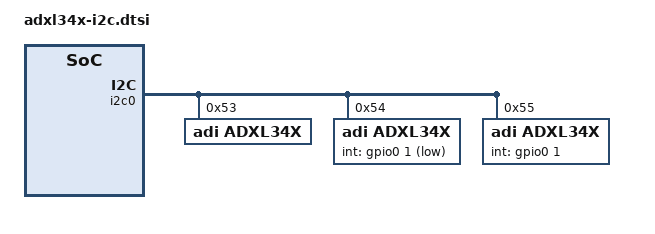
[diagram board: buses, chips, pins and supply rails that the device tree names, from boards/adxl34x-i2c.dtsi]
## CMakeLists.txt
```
#
# Copyright (c) 2024, Chaim Zax
# SPDX-License-Identifier: Apache-2.0
#

cmake_minimum_required(VERSION 3.20.0)

find_package(Zephyr REQUIRED HINTS $ENV{ZEPHYR_BASE})
project(sensor_adxl34x_test)

target_include_directories(app PRIVATE
  "${CMAKE_CURRENT_SOURCE_DIR}/../../../../drivers/sensor/adi/adxl34x"
)
target_sources(app PRIVATE
  src/adxl34x_test.c
  src/adxl34x_test.h
  src/adxl34x_basic.c
  src/adxl34x_decoder.c
  src/adxl34x_streaming.c
  src/adxl34x_extended.c
  src/adxl34x_i2c.c
  src/adxl34x_spi.c
)
# Let's speedup development. DISABLE IN PRODUCTION!
#target_compile_options(app PRIVATE -Wno-error=unused-variable -Wno-error=unused-function)
```

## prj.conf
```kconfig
#
# Copyright (c) 2024 Chaim Zax
# SPDX-License-Identifier: Apache-2.0
#

CONFIG_ZTEST=y
CONFIG_SENSOR_ASYNC_API=y

# Enable GPIO
CONFIG_GPIO=y

# Enable sensors
CONFIG_SENSOR=y

# Enable emulation
CONFIG_EMUL=y
```

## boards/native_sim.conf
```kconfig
#
# Copyright (c) 2024 Chaim Zax
# SPDX-License-Identifier: Apache-2.0
#

CONFIG_I2C=y
CONFIG_SPI=y
```

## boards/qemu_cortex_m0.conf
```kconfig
#
# Copyright (c) 2024 Chaim Zax
# SPDX-License-Identifier: Apache-2.0
#

CONFIG_I2C=y
CONFIG_SPI=y

CONFIG_QEMU_ICOUNT=y
```

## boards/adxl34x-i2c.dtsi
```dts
/*
 * Copyright (c) 2024 Chaim Zax
 * SPDX-License-Identifier: Apache-2.0
 */

&i2c0 {
	adxl34x@53 {
		compatible = "adi,adxl34x";
		reg = <0x53>;
		status = "okay";
	};

	adxl34x@54 {
		compatible = "adi,adxl34x";
		reg = <0x54>;
		int-gpios = <&gpio0 1 GPIO_ACTIVE_LOW>;
		int-pin = <1>;
		packet-size = <16>;
		accel-frequency = "50";
		accel-range = <2>;
		status = "okay";
	};

	adxl34x@55 {
		compatible = "adi,adxl34x";
		reg = <0x55>;
		int-gpios = <&gpio0 1 GPIO_ACTIVE_HIGH>;
		int-pin = <2>;
		packet-size = <31>;
		accel-frequency = "3200";
		accel-range = <16>;
		status = "okay";
	};
};
```

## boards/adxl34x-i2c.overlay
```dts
/*
 * Copyright (c) 2024 Chaim Zax
 * SPDX-License-Identifier: Apache-2.0
 */

#include "adxl34x-i2c.dtsi"
```

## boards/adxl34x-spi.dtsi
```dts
/*
 * Copyright (c) 2024 Chaim Zax
 * SPDX-License-Identifier: Apache-2.0
 */

&spi0 {
	adxl34x@0 {
		compatible = "adi,adxl34x";
		reg = <0>;
		spi-max-frequency = <5000000>;
		status = "okay";
	};

	adxl34x@1 {
		compatible = "adi,adxl34x";
		reg = <1>;
		spi-max-frequency = <5000000>;
		int-gpios = <&gpio0 1 GPIO_ACTIVE_LOW>;
		int-pin = <1>;
		packet-size = <16>;
		accel-frequency = "100";
		accel-range = <2>;
		status = "okay";
	};

	adxl34x@2 {
		compatible = "adi,adxl34x";
		reg = <2>;
		spi-max-frequency = <5000000>;
		int-gpios = <&gpio0 1 GPIO_ACTIVE_HIGH>;
		int-pin = <2>;
		packet-size = <31>;
		accel-frequency = "3200";
		accel-range = <16>;
		status = "okay";
	};
};
```

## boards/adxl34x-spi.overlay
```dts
/*
 * Copyright (c) 2024 Chaim Zax
 * SPDX-License-Identifier: Apache-2.0
 */

#include "adxl34x-spi.dtsi"
```

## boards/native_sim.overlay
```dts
/*
 * Copyright (c) 2024 Chaim Zax
 * SPDX-License-Identifier: Apache-2.0
 */

#include "adxl34x-spi.dtsi"
#include "adxl34x-i2c.dtsi"
```

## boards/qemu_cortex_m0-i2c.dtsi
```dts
/*
 * Copyright (c) 2024 Chaim Zax
 * SPDX-License-Identifier: Apache-2.0
 */

#include "adxl34x-i2c.dtsi"

&pinctrl {
	i2c0_default: i2c0_default {
		group1 {
			psels = <NRF_PSEL(TWIM_SDA, 0, 30)>,
				<NRF_PSEL(TWIM_SCL, 0, 7)>;
		};
	};

	i2c0_sleep: i2c0_sleep {
		group1 {
			psels = <NRF_PSEL(TWIM_SDA, 0, 30)>,
				<NRF_PSEL(TWIM_SCL, 0, 7)>;
			low-power-enable;
		};
	};
};

&i2c0 {
	status = "okay";
	pinctrl-0 = <&i2c0_default>;
	pinctrl-1 = <&i2c0_sleep>;
	pinctrl-names = "default", "sleep";
};
```

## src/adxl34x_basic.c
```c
/*
 * Copyright (c) 2024 Chaim Zax
 *
 * SPDX-License-Identifier: Apache-2.0
 */

#include <math.h>

#include <zephyr/drivers/emul.h>
#include <zephyr/drivers/emul_sensor.h>
#include <zephyr/drivers/sensor.h>
#include <zephyr/logging/log.h>
#include <zephyr/pm/device_runtime.h>
#include <zephyr/sys/byteorder.h>
#include <zephyr/sys/util.h>
#include <zephyr/sys/util_macro.h>
#include <zephyr/ztest.h>
#include <zephyr/ztest_assert.h>

#include "adxl34x_test.h"
#include "adxl34x_emul.h"
#include "adxl34x_private.h"
#include "adxl34x_convert.h"

/* The test fixture type must have the same name as the test suite. Because the same fixture type is
 * shared between all test suites a define is used to make them 'compatible'.
 */
#define adxl34x_basic_fixture adxl34x_fixture

LOG_MODULE_DECLARE(adxl34x_test, CONFIG_SENSOR_LOG_LEVEL);

static void adxl34x_basic_suite_before(void *fixture)
{
	/* The tests in this test suite are only used by the build(s) specific for these test-cases,
	 * which is defined in the testcase.yaml file.
	 */
	Z_TEST_SKIP_IFNDEF(ADXL34X_TEST_BASIC);
	/* Setup all i2c and spi devices available. */
	adxl34x_suite_before(fixture);
}

/**
 * @brief Test sensor initialisation.
 *
 * @details All devices defined in the device tree are initialised at startup. Some devices should
 * succeed initialisation, some should not, and some are not used in this test suite at all. This
 * test verifies the devices which support the basic functionality are available.
 *
 * @ingroup driver_sensor_subsys_tests
 * @see device_is_ready()
 */
ZTEST_USER_F(adxl34x_basic, test_device_is_ready_for_basic_tests)
{
	/* The devices below should be able to be used in these tests. */
	adxl34x_is_ready(fixture, ADXL34X_TEST_SPI_0);
	adxl34x_is_ready(fixture, ADXL34X_TEST_SPI_1);
	adxl34x_is_ready(fixture, ADXL34X_TEST_SPI_2);
	adxl34x_is_ready(fixture, ADXL34X_TEST_I2C_53);
	adxl34x_is_ready(fixture, ADXL34X_TEST_I2C_54);
	adxl34x_is_ready(fixture, ADXL34X_TEST_I2C_55);
}

static void double_to_raw(const struct emul *target, const double value, int8_t *out)
{
	struct adxl34x_dev_data *dev_data = target->dev->data;
	const double range_scale =
		(double)adxl34x_range_conv[dev_data->cfg.data_format.range] / 10000;
	const int16_t scaled_value = value / range_scale;

	sys_put_le16(scaled_value, (uint8_t *)out);
}

static void set_simulated_sensor_values(struct adxl34x_fixture *fixture,
					const enum ADXL34X_TEST test_device,
					const double value_in[])
{
	const struct emul *target = fixture->device[test_device].emul;
	struct adxl34x_emul_data *data = (struct adxl34x_emul_data *)target->data;
	uint8_t *reg = data->reg;

	zassert_equal(reg[ADXL34X_REG_DEVID], ADXL344_DEVID,
		      "Device id doesn't match, sanity check failed");
	double_to_raw(target, value_in[0], &reg[ADXL34X_REG_DATA]);
	double_to_raw(target, value_in[1], &reg[ADXL34X_REG_DATA + 2]);
	double_to_raw(target, value_in[2], &reg[ADXL34X_REG_DATA + 4]);
	reg[ADXL34X_REG_FIFO_STATUS] = 1; /* FIFO entries = 1 */
}

static void test_get_value(struct adxl34x_fixture *fixture, const enum ADXL34X_TEST test_device,
			   const bool use_pm)
{
	LOG_DBG("Running test on %s/%s", adxl34x_get_bus_name(fixture, test_device),
		adxl34x_get_name(fixture, test_device));
	struct sensor_value acc[3];

	/* Setup the test-case/driver with pre-defined x, y and z values. */
	zassert_not_null(fixture->device[test_device].emul);
	const struct adxl34x_dev_data *dev_data = fixture->device[test_device].emul->dev->data;
	const uint8_t max_g = adxl34x_max_g_conv[dev_data->cfg.data_format.range];
	const double value_in[] = {-1.0 * max_g, 0.5 * max_g, 1.0 * max_g};

	set_simulated_sensor_values(fixture, test_device, value_in);

#if CONFIG_PM_DEVICE_RUNTIME
	if (use_pm) {
		zassert_ok(pm_device_runtime_get(fixture->device[test_device].dev));
	} else {
		/* Fetching sensor data without a pm-get should fail. */
		zassert_false(sensor_sample_fetch(fixture->device[test_device].dev) >= 0);
		return;
	}
#endif

	/* Use the sensor as normal. */
	zassert_true(sensor_sample_fetch(fixture->device[test_device].dev) >= 0);
	zassert_ok(
		sensor_channel_get(fixture->device[test_device].dev, SENSOR_CHAN_ACCEL_XYZ, acc));

	/* Verify the set values are corresponding with the returned values. */
	for (unsigned int i = 0; i < 3; i++) {
		const double value_out = MS2_TO_G(sensor_value_to_double(&acc[i]));

		zassert_true(fabs(value_in[i] - value_out) < 0.05);
	}

#if CONFIG_PM_DEVICE_RUNTIME
	if (use_pm) {
		zassert_ok(
			pm_device_runtime_put_async(fixture->device[test_device].dev, K_NO_WAIT));
	}
#endif
}

/**
 * @brief Test getting basic sensor data using spi.
 *
 * @details Use the default polling mechanism to get sensor data.
 *
 * @ingroup driver_sensor_subsys_tests
 * @see sensor_sample_fetch(), sensor_channel_get()
 */
ZTEST_USER_F(adxl34x_basic, test_get_value_spi)
{
	test_get_value(fixture, ADXL34X_TEST_SPI_0, true);
	test_get_value(fixture, ADXL34X_TEST_SPI_1, true);
	test_get_value(fixture, ADXL34X_TEST_SPI_2, true);
}

/**
 * @brief Test getting basic sensor data using i2c.
 *
 * @details Use the default polling mechanism to get sensor data.
 *
 * @ingroup driver_sensor_subsys_tests
 * @see sensor_sample_fetch(), sensor_channel_get()
 */
ZTEST_USER_F(adxl34x_basic, test_get_value_i2c)
{
	test_get_value(fixture, ADXL34X_TEST_I2C_53, true);
	test_get_value(fixture, ADXL34X_TEST_I2C_54, true);
	test_get_value(fixture, ADXL34X_TEST_I2C_55, true);
}

/**
 * @brief Test getting basic sensor data with power management enabled.
 *
 * @details Use the default polling mechanism to get sensor data without a pm_device_runtime_get.
 *
 * @ingroup driver_sensor_subsys_tests
 * @see sensor_sample_fetch(), sensor_channel_get(), pm_device_runtime_get()
 */
ZTEST_USER_F(adxl34x_basic, test_sample_fetch_pm)
{
	test_get_value(fixture, ADXL34X_TEST_I2C_53, false);
}

static void test_sensor_attr_sampling_frequency(struct adxl34x_fixture *fixture,
						const enum ADXL34X_TEST test_device,
						const struct sensor_value default_value)
{
	static const struct sensor_value value_in = {12, 500000}; /* 12.50 Hz */
	struct sensor_value value_out;
	/* Check default value */
	zassert_ok(sensor_attr_get(fixture->device[test_device].dev, SENSOR_CHAN_ACCEL_XYZ,
				   SENSOR_ATTR_SAMPLING_FREQUENCY, &value_out));
	zassert_true(is_equal_sensor_value(default_value, value_out));
	/* Check if setting and getting values */
	zassert_ok(sensor_attr_set(fixture->device[test_device].dev, SENSOR_CHAN_ACCEL_XYZ,
				   SENSOR_ATTR_SAMPLING_FREQUENCY, &value_in));
	zassert_ok(sensor_attr_get(fixture->device[test_device].dev, SENSOR_CHAN_ACCEL_XYZ,
				   SENSOR_ATTR_SAMPLING_FREQUENCY, &value_out));
	zassert_true(is_equal_sensor_value(value_in, value_out));
}

/**
 * @brief Test changing the sample frequency.
 *
 * @details Depending on the device tree configuration the various sensors are initialised with
 * various frequencies. This test not only tests if these defaults are correct, it also sets a new
 * frequency and verifies this frequency is set correctly.
 *
 * @ingroup driver_sensor_subsys_tests
 * @see sensor_attr_get()
 */
ZTEST_USER_F(adxl34x_basic, test_sensor_attr_sampling_frequency)
{
	/* No value provided in the dts file, verify default (100 Hz) */
	test_sensor_attr_sampling_frequency(fixture, ADXL34X_TEST_I2C_53,
					    (struct sensor_value){100, 0});
	/* Value set explicitly in dts file to 50 Hz. */
	test_sensor_attr_sampling_frequency(fixture, ADXL34X_TEST_I2C_54,
					    (struct sensor_value){50, 0});
	/* Value set explicitly in dts file to 3200 Hz. */
	test_sensor_attr_sampling_frequency(fixture, ADXL34X_TEST_I2C_55,
					    (struct sensor_value){3200, 0});
}

void test_sensor_attr_sampling_frequency_range(struct adxl34x_fixture *fixture,
					       const enum ADXL34X_TEST test_device)
{
	static const double q31_delta_error = 0.0000005;
	static const double frequency[] = {
		0.10, 0.20, 0.39,  0.78,  1.56,  3.13,  6.25,   12.50,
		25.0, 50.0, 100.0, 200.0, 400.0, 800.0, 1600.0, 3200.0,
	};

	for (unsigned int i = 0; i < ARRAY_SIZE(frequency); i++) {
		struct sensor_value value_in, value_out;
		/* Rounding down will be done when setting the sample frequency,
		 * to make sure this doesn't result in setting the value below
		 * the one needed we add a delta error to the set value.
		 */
		sensor_value_from_double(&value_in, frequency[i] + q31_delta_error);

		LOG_DBG("Setting frequency to %d.%d", value_in.val1, value_in.val2);
		zassert_ok(sensor_attr_set(fixture->device[test_device].dev, SENSOR_CHAN_ACCEL_XYZ,
					   SENSOR_ATTR_SAMPLING_FREQUENCY, &value_in));
		zassert_ok(sensor_attr_get(fixture->device[test_device].dev, SENSOR_CHAN_ACCEL_XYZ,
					   SENSOR_ATTR_SAMPLING_FREQUENCY, &value_out));
		const double frequency_out = sensor_value_to_double(&value_out);

		zassert_true(fabs(frequency[i] - frequency_out) < q31_delta_error);
	}
}

/**
 * @brief Test the complete range of sampling frequencies.
 *
 * @details Loop though the entire set of supported frequencies and verify each of the can be set
 * correctly (by reading back the result).
 *
 * @ingroup driver_sensor_subsys_tests
 * @see sensor_attr_set(), sensor_attr_get()
 */
ZTEST_USER_F(adxl34x_basic, test_sensor_attr_sampling_frequency_range)
{
	test_sensor_attr_sampling_frequency_range(fixture, ADXL34X_TEST_I2C_53);
}

void test_sensor_attr_offset(struct adxl34x_fixture *fixture, const enum ADXL34X_TEST test_device)
{
	static const int32_t ug_in[] = {-1000000, 500000, 2000000};
	struct sensor_value value_in[3], value_out[3];

	for (unsigned int i = 0; i < 3; i++) {
		sensor_ug_to_ms2(ug_in[i], &value_in[i]);
	}
	zassert_ok(sensor_attr_set(fixture->device[test_device].dev, SENSOR_CHAN_ACCEL_XYZ,
				   SENSOR_ATTR_OFFSET, value_in));
	zassert_ok(sensor_attr_get(fixture->device[test_device].dev, SENSOR_CHAN_ACCEL_XYZ,
				   SENSOR_ATTR_OFFSET, value_out));

	for (unsigned int i = 0; i < 3; i++) {
		const int32_t ug_out = sensor_ms2_to_ug(&value_out[i]);

		zassert_true(fabs((double)ug_in[i] - (double)ug_out) / 1000000 < 0.02);
	}
}

/**
 * @brief Test changing the offset value.
 *
 * @details Verify changing the offset of the sensor value works correctly by using a range of
 * values (both positive and negative).
 *
 * @ingroup driver_sensor_subsys_tests
 * @see sensor_attr_set(), sensor_attr_get()
 */
ZTEST_USER_F(adxl34x_basic, test_sensor_attr_offset)
{
	test_sensor_attr_offset(fixture, ADXL34X_TEST_I2C_55);
}

void test_emul_set_attr_offset(struct adxl34x_fixture *fixture, const enum ADXL34X_TEST test_device)
{
	static const struct sensor_chan_spec channel = {
		.chan_idx = 0,
		.chan_type = SENSOR_CHAN_ACCEL_XYZ,
	};
	static const double offset_lsb_ms2 = 0.152985; /* lsb = 15.6 mg = 0.152985 ms2 */
	static const uint8_t shift = 5; /* Maximum value of offset_in now is 19.6 ms2 (2g) */
	static const double offset_in[] = {offset_lsb_ms2, -offset_lsb_ms2, offset_lsb_ms2 * 100};
	const struct sensor_three_axis_attribute offset_in_q31 = {
		.x = DOUBLE_TO_Q31(offset_in[0], shift),
		.y = DOUBLE_TO_Q31(offset_in[1], shift),
		.z = DOUBLE_TO_Q31(offset_in[2], shift),
		.shift = shift,
	};
	struct sensor_value offset_out[3];

	zassert_ok(emul_sensor_backend_set_attribute(fixture->device[test_device].emul, channel,
						     SENSOR_ATTR_OFFSET, &offset_in_q31));
	zassert_ok(sensor_attr_get(fixture->device[test_device].dev, SENSOR_CHAN_ACCEL_XYZ,
				   SENSOR_ATTR_OFFSET, offset_out));

	for (unsigned int i = 0; i < 3; i++) {
		const double offset_out_ms2 = sensor_value_to_double(&offset_out[i]);

		zassert_true(fabs(offset_out_ms2 - offset_in[i]) < 0.0005);
	}
}

/**
 * @brief Test the sensor emulation api.
 *
 * @details Using the sensor emulation api change the offset of the sensor, and verify by getting
 * the offset using the normal sensor api.
 *
 * @ingroup driver_sensor_subsys_tests
 * @see emul_sensor_backend_set_attribute(), sensor_attr_get()
 */
ZTEST_USER_F(adxl34x_basic, test_emul_set_attr_offset)
{
	test_emul_set_attr_offset(fixture, ADXL34X_TEST_I2C_55);
}

void test_emul_get_sample_range(struct adxl34x_fixture *fixture,
				const enum ADXL34X_TEST test_device)
{
	static const struct sensor_chan_spec channel = {
		.chan_idx = 0,
		.chan_type = SENSOR_CHAN_ACCEL_XYZ,
	};
	static const uint16_t resolution = 512;
	const struct emul *target = fixture->device[test_device].emul;
	const struct adxl34x_dev_data *dev_data = target->dev->data;
	const double max_g = (double)adxl34x_max_g_conv[dev_data->cfg.data_format.range];
	q31_t lower, upper, epsilon;
	int8_t shift;

	zassert_ok(emul_sensor_backend_get_sample_range(fixture->device[test_device].emul, channel,
							&lower, &upper, &epsilon, &shift));

	const double lower_f = MS2_TO_G(Q31_TO_DOUBLE(lower, shift));
	const double upper_f = MS2_TO_G(Q31_TO_DOUBLE(upper, shift));
	const double epsilon_f = MS2_TO_G(Q31_TO_DOUBLE(epsilon, shift));

	zassert_true(fabs(upper_f - max_g) < 0.0001);
	zassert_true(fabs(-lower_f - max_g) < 0.0001);
	zassert_true(fabs(epsilon_f - max_g / resolution) < 0.0001);
}

/**
 * @brief Test the sensor emulation api.
 *
 * @details Using the sensor emulation api get the sensor range and verify using the one set in the
 * device tree.  the offset using the normal sensor api.
 *
 * @ingroup driver_sensor_subsys_tests
 * @see emul_sensor_backend_get_sample_range()
 */
ZTEST_USER_F(adxl34x_basic, test_emul_get_sample_range)
{
	test_emul_get_sample_range(fixture, ADXL34X_TEST_I2C_53);
	test_emul_get_sample_range(fixture, ADXL34X_TEST_I2C_54);
	test_emul_get_sample_range(fixture, ADXL34X_TEST_I2C_55);
}

void test_emul_set_channel(struct adxl34x_fixture *fixture, const enum ADXL34X_TEST test_device,
			   uint16_t chan_type)
{
	static const struct sensor_chan_spec channel_x = {
		.chan_idx = 0,
		.chan_type = SENSOR_CHAN_ACCEL_X,
	};
	static const struct sensor_chan_spec channel_y = {
		.chan_idx = 0,
		.chan_type = SENSOR_CHAN_ACCEL_Y,
	};
	static const struct sensor_chan_spec channel_z = {
		.chan_idx = 0,
		.chan_type = SENSOR_CHAN_ACCEL_Z,
	};
	static const uint8_t shift = 5; /* Maximum value of offset_in now is 19.6 ms2 (2g) */
	static const double value_in[] = {9.80665, -9.80665, 19.6133};
	const struct sensor_three_axis_attribute value = {
		.x = DOUBLE_TO_Q31(value_in[0], shift),
		.y = DOUBLE_TO_Q31(value_in[1], shift),
		.z = DOUBLE_TO_Q31(value_in[2], shift),
		.shift = shift,
	};
	struct sensor_value acc[3];

	zassert_ok(emul_sensor_backend_set_channel(fixture->device[test_device].emul, channel_x,
						   &value.x, shift));
	zassert_ok(emul_sensor_backend_set_channel(fixture->device[test_device].emul, channel_y,
						   &value.y, shift));
	zassert_ok(emul_sensor_backend_set_channel(fixture->device[test_device].emul, channel_z,
						   &value.z, shift));

#if CONFIG_PM_DEVICE_RUNTIME
	zassert_ok(pm_device_runtime_get(fixture->device[test_device].dev));
#endif

	/* Check a non existent channel */
	zassert_false(sensor_sample_fetch_chan(fixture->device[test_device].dev,
					       SENSOR_CHAN_VOLTAGE) >= 0);

	/* Use the sensor as normal. */
	if (chan_type == SENSOR_CHAN_ALL) {
		zassert_true(sensor_sample_fetch(fixture->device[test_device].dev) >= 0);
		zassert_ok(
			sensor_channel_get(fixture->device[test_device].dev, SENSOR_CHAN_ALL, acc));
	} else if (chan_type == SENSOR_CHAN_ACCEL_XYZ) {
		zassert_true(sensor_sample_fetch_chan(fixture->device[test_device].dev,
						      SENSOR_CHAN_ACCEL_XYZ) >= 0);
		zassert_ok(sensor_channel_get(fixture->device[test_device].dev,
					      SENSOR_CHAN_ACCEL_XYZ, acc));
	} else {
		zassert_true(sensor_sample_fetch_chan(fixture->device[test_device].dev,
						      SENSOR_CHAN_ACCEL_X) >= 0);
		zassert_ok(sensor_channel_get(fixture->device[test_device].dev, SENSOR_CHAN_ACCEL_X,
					      &acc[0]));
		zassert_true(sensor_sample_fetch_chan(fixture->device[test_device].dev,
						      SENSOR_CHAN_ACCEL_Y) >= 0);
		zassert_ok(sensor_channel_get(fixture->device[test_device].dev, SENSOR_CHAN_ACCEL_Y,
					      &acc[1]));
		zassert_true(sensor_sample_fetch_chan(fixture->device[test_device].dev,
						      SENSOR_CHAN_ACCEL_Z) >= 0);
		zassert_ok(sensor_channel_get(fixture->device[test_device].dev, SENSOR_CHAN_ACCEL_Z,
					      &acc[2]));
	}

	/* Verify the set values are corresponding with the returned values. */
	for (unsigned int i = 0; i < 3; i++) {
		const double value_out = sensor_value_to_double(&acc[i]);

		zassert_true(fabs(value_in[i] - value_out) < 0.05);
	}

#if CONFIG_PM_DEVICE_RUNTIME
	zassert_ok(pm_device_runtime_put_async(fixture->device[test_device].dev, K_NO_WAIT));
#endif
}

/**
 * @brief Test getting samples values which were set using the emul(ation) api.
 *
 * @details Simular to the previous test (getting basic sensor data) except pre-defined sensor
 * values are set in advance, which are verified after getting the values.
 *
 * @ingroup driver_sensor_subsys_tests
 * @see emul_sensor_backend_set_channel(), sensor_sample_fetch(), sensor_channel_get()
 */
ZTEST_USER_F(adxl34x_basic, test_emul_set_channel)
{
	test_emul_set_channel(fixture, ADXL34X_TEST_I2C_53, SENSOR_CHAN_ACCEL_XYZ);
	test_emul_set_channel(fixture, ADXL34X_TEST_I2C_54, SENSOR_CHAN_ACCEL_XYZ);
	test_emul_set_channel(fixture, ADXL34X_TEST_I2C_55, SENSOR_CHAN_ACCEL_XYZ);
}

/**
 * @brief Test getting samples values which were set using the emul(ation) api.
 *
 * @details Simular to the previous test (getting basic sensor data) except pre-defined sensor
 * values are set in advance, which are verified after getting the values, and different channels
 * are fetched/get.
 *
 * @ingroup driver_sensor_subsys_tests
 * @see emul_sensor_backend_set_channel(), sensor_sample_fetch(), sensor_channel_get()
 */
ZTEST_USER_F(adxl34x_basic, test_emul_set_channel_x)
{
	test_emul_set_channel(fixture, ADXL34X_TEST_I2C_53, SENSOR_CHAN_ACCEL_X);
	test_emul_set_channel(fixture, ADXL34X_TEST_I2C_53, SENSOR_CHAN_ALL);
}

void test_emul_get_attr_offset_metadata(struct adxl34x_fixture *fixture,
					const enum ADXL34X_TEST test_device)
{
	static const struct sensor_chan_spec channel = {
		.chan_idx = 0,
		.chan_type = SENSOR_CHAN_ACCEL_XYZ,
	};
	static const double min_ms2 = -19.58161;     /* -2 g */
	static const double max_ms2 = 19.42863;      /* 2 g */
	static const double increment_ms2 = 0.15298; /* 15.6 mg */
	q31_t min_q31, max_q31, increment_q31;
	int8_t shift;

	zassert_ok(emul_sensor_backend_get_attribute_metadata(fixture->device[test_device].emul,
							      channel, SENSOR_ATTR_OFFSET, &min_q31,
							      &max_q31, &increment_q31, &shift));

	const double min = Q31_TO_DOUBLE(min_q31, shift);
	const double max = Q31_TO_DOUBLE(max_q31, shift);
	const double increment = Q31_TO_DOUBLE(increment_q31, shift);

	zassert_true(fabs(min - min_ms2) < 0.001);
	zassert_true(fabs(max - max_ms2) < 0.001);
	zassert_true(fabs(increment - increment_ms2) < 0.0001);
}

/**
 * @brief Test the sensor emulation api.
 *
 * @details Using the sensor emulation api get the metadata of the sensor offset attribute.
 *
 * @ingroup driver_sensor_subsys_tests
 * @see emul_sensor_backend_get_attribute_metadata()
 */
ZTEST_USER_F(adxl34x_basic, test_emul_get_attr_offset_metadata)
{
	test_emul_get_attr_offset_metadata(fixture, ADXL34X_TEST_I2C_53);
}

ZTEST_SUITE(adxl34x_basic, NULL, adxl34x_suite_setup, adxl34x_basic_suite_before, NULL, NULL);
```

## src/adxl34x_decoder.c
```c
/*
 * Copyright (c) 2024 Chaim Zax
 *
 * SPDX-License-Identifier: Apache-2.0
 */

#include <zephyr/drivers/emul.h>
#include <zephyr/drivers/emul_sensor.h>
#include <zephyr/drivers/sensor.h>
#include <zephyr/logging/log.h>
#include <zephyr/ztest.h>
#include <zephyr/ztest_assert.h>

#include "adxl34x_test.h"

/* The test fixture type must have the same name as the test suite. Because the same fixture type is
 * shared between all test suites a define is used to make them 'compatible'.
 */
#define adxl34x_decoder_fixture adxl34x_fixture

LOG_MODULE_DECLARE(adxl34x_test, CONFIG_SENSOR_LOG_LEVEL);

static void adxl34x_decoder_suite_before(void *fixture)
{
	/* The tests in this test suite are only used by the build(s) specific for these test-cases,
	 * which is defined in the testcase.yaml file.
	 */
	Z_TEST_SKIP_IFNDEF(ADXL34X_TEST_DECODER);
	/* Setup all i2c and spi devices available. */
	adxl34x_suite_before(fixture);
}

/**
 * @brief Test sensor initialisation.
 *
 * @details All devices defined in the device tree are initialised at startup. Some devices should
 * succeed initialisation, some should not, and some are not used in this test suite at all. This
 * test verifies the devices which support the decoder functionality are available.
 *
 * @ingroup driver_sensor_subsys_tests
 * @see device_is_ready()
 */
ZTEST_USER_F(adxl34x_decoder, test_device_is_ready_for_decoder_tests)
{
	/* The devices below should be able to be used in these tests. */
	adxl34x_is_ready(fixture, ADXL34X_TEST_SPI_0);
	adxl34x_is_ready(fixture, ADXL34X_TEST_SPI_1);
	adxl34x_is_ready(fixture, ADXL34X_TEST_SPI_2);
	adxl34x_is_ready(fixture, ADXL34X_TEST_I2C_53);
	adxl34x_is_ready(fixture, ADXL34X_TEST_I2C_54);
	adxl34x_is_ready(fixture, ADXL34X_TEST_I2C_55);
}

ZTEST_SUITE(adxl34x_decoder, NULL, adxl34x_suite_setup, adxl34x_decoder_suite_before, NULL, NULL);
```

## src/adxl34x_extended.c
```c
/*
 * Copyright (c) 2024 Chaim Zax
 *
 * SPDX-License-Identifier: Apache-2.0
 */

#include <zephyr/drivers/emul.h>
#include <zephyr/drivers/emul_sensor.h>
#include <zephyr/drivers/sensor.h>
#include <zephyr/logging/log.h>
#include <zephyr/ztest.h>
#include <zephyr/ztest_assert.h>

#include "adxl34x_test.h"

/* The test fixture type must have the same name as the test suite. Because the same fixture type is
 * shared between all test suites a define is used to make them 'compatible'.
 */
#define adxl34x_extended_fixture adxl34x_fixture

LOG_MODULE_DECLARE(adxl34x_test, CONFIG_SENSOR_LOG_LEVEL);

static void adxl34x_extended_suite_before(void *fixture)
{
	/* The tests in this test suite are only used by the build(s) specific for these test-cases,
	 * which is defined in the testcase.yaml file.
	 */
	Z_TEST_SKIP_IFNDEF(ADXL34X_TEST_EXTENDED);
	/* Setup all i2c and spi devices available. */
	adxl34x_suite_before(fixture);
}

/**
 * @brief Test sensor initialisation.
 *
 * @details All devices defined in the device tree are initialised at startup. Some devices should
 * succeed initialisation, some should not, and some are not used in this test suite at all. This
 * test verifies the devices which support extended functionality are available. Because this
 * requires additional dts configuration the devices which only have the basic configuration should
 * not be available.
 *
 * @ingroup driver_sensor_subsys_tests
 * @see device_is_ready()
 */
ZTEST_USER_F(adxl34x_extended, test_device_is_ready_for_extended_tests)
{
	/* The devices below should be able to be used in these tests. */
	adxl34x_is_ready(fixture, ADXL34X_TEST_SPI_1);
	adxl34x_is_ready(fixture, ADXL34X_TEST_SPI_2);
	adxl34x_is_ready(fixture, ADXL34X_TEST_I2C_54);
	adxl34x_is_ready(fixture, ADXL34X_TEST_I2C_55);

	/* The devices below should NOT be able to be used in these tests. They don't have all the
	 * nessesary dts configuration needed for this specific build.
	 */
	adxl34x_is_not_ready(fixture, ADXL34X_TEST_SPI_0);
	adxl34x_is_not_ready(fixture, ADXL34X_TEST_I2C_53);
}

ZTEST_SUITE(adxl34x_extended, NULL, adxl34x_suite_setup, adxl34x_extended_suite_before, NULL, NULL);
```

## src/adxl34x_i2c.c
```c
/*
 * Copyright (c) 2024 Chaim Zax
 *
 * SPDX-License-Identifier: Apache-2.0
 */

#include <zephyr/drivers/emul.h>
#include <zephyr/drivers/emul_sensor.h>
#include <zephyr/drivers/sensor.h>
#include <zephyr/logging/log.h>
#include <zephyr/ztest.h>
#include <zephyr/ztest_assert.h>

#include "adxl34x_test.h"

/* The test fixture type must have the same name as the test suite. Because the same fixture type is
 * shared between all test suites a define is used to make them 'compatible'.
 */
#define adxl34x_i2c_fixture adxl34x_fixture

LOG_MODULE_DECLARE(adxl34x_test, CONFIG_SENSOR_LOG_LEVEL);

static void adxl34x_i2c_suite_before(void *fixture)
{
	/* The tests in this test suite are only used by the build(s) specific for these test-cases,
	 * which is defined in the testcase.yaml file.
	 */
	Z_TEST_SKIP_IFNDEF(ADXL34X_TEST_I2C);
	/* Setup all i2c and spi devices available. */
	adxl34x_suite_before(fixture);
}

/**
 * @brief Test sensor initialisation.
 *
 * @details All devices defined in the device tree are initialised at startup. Some devices should
 * succeed initialisation, some should not, and some are not used in this test suite at all. This
 * test verifies the devices which support i2c are available. The spi devices are not defined in
 * this build, and are therefore excluded from this test. This test also makes sure no additional
 * dependencies are needed.
 *
 * @ingroup driver_sensor_subsys_tests
 * @see device_is_ready()
 */
ZTEST_USER_F(adxl34x_i2c, test_device_is_ready_for_i2c_tests)
{
	/* The devices below should be able to be used in these tests. For this build the overlay
	 * was used which defines only the i2c devices, so the spi devices are not used here.
	 */
	adxl34x_is_ready(fixture, ADXL34X_TEST_I2C_54);
	adxl34x_is_ready(fixture, ADXL34X_TEST_I2C_55);

	/* The devices below should NOT be able to be used in these tests. They don't have all the
	 * nessesary dts configuration needed for this specific build.
	 */
	adxl34x_is_not_ready(fixture, ADXL34X_TEST_I2C_53);
}

ZTEST_SUITE(adxl34x_i2c, NULL, adxl34x_suite_setup, adxl34x_i2c_suite_before, NULL, NULL);
```

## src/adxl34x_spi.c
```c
/*
 * Copyright (c) 2024 Chaim Zax
 *
 * SPDX-License-Identifier: Apache-2.0
 */

#include <zephyr/drivers/emul.h>
#include <zephyr/drivers/emul_sensor.h>
#include <zephyr/drivers/sensor.h>
#include <zephyr/logging/log.h>
#include <zephyr/ztest.h>
#include <zephyr/ztest_assert.h>

#include "adxl34x_test.h"

/* The test fixture type must have the same name as the test suite. Because the same fixture type is
 * shared between all test suites a define is used to make them 'compatible'.
 */
#define adxl34x_spi_fixture adxl34x_fixture

LOG_MODULE_DECLARE(adxl34x_test, CONFIG_SENSOR_LOG_LEVEL);

static void adxl34x_spi_suite_before(void *fixture)
{
	/* The tests in this test suite are only used by the build(s) specific for these test-cases,
	 * which is defined in the testcase.yaml file.
	 */
	Z_TEST_SKIP_IFNDEF(ADXL34X_TEST_SPI);
	/* Setup all spi and spi devices available. */
	adxl34x_suite_before(fixture);
}

/**
 * @brief Test sensor initialisation.
 *
 * @details All devices defined in the device tree are initialised at startup. Some devices should
 * succeed initialisation, some should not, and some are not used in this test suite at all. This
 * test verifies the devices which support spi are available. The i2c devices are not defined in
 * this build, and are therefore excluded from this test. This test also makes sure no additional
 * dependencies are needed.
 *
 * @ingroup driver_sensor_subsys_tests
 * @see device_is_ready()
 */
ZTEST_USER_F(adxl34x_spi, test_device_is_ready_for_spi_tests)
{
	/* The devices below should be able to be used in these tests. For this build the overlay
	 * was used which defines only the spi devices, so the i2c devices are not used here.
	 */
	adxl34x_is_ready(fixture, ADXL34X_TEST_SPI_1);
	adxl34x_is_ready(fixture, ADXL34X_TEST_SPI_2);

	/* The devices below should NOT be able to be used in these tests. They don't have all the
	 * nessesary dts configuration needed for this specific build.
	 */
	adxl34x_is_not_ready(fixture, ADXL34X_TEST_SPI_0);
}

ZTEST_SUITE(adxl34x_spi, NULL, adxl34x_suite_setup, adxl34x_spi_suite_before, NULL, NULL);
```

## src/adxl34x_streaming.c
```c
/*
 * Copyright (c) 2024 Chaim Zax
 *
 * SPDX-License-Identifier: Apache-2.0
 */

#include <zephyr/drivers/emul.h>
#include <zephyr/drivers/emul_sensor.h>
#include <zephyr/drivers/sensor.h>
#include <zephyr/logging/log.h>
#include <zephyr/ztest.h>
#include <zephyr/ztest_assert.h>

#include "adxl34x_test.h"

/* The test fixture type must have the same name as the test suite. Because the same fixture type is
 * shared between all test suites a define is used to make them 'compatible'.
 */
#define adxl34x_streaming_fixture adxl34x_fixture

LOG_MODULE_DECLARE(adxl34x_test, CONFIG_SENSOR_LOG_LEVEL);

static void adxl34x_streaming_suite_before(void *fixture)
{
	/* The tests in this test suite are only used by the build(s) specific for these test-cases,
	 * which is defined in the testcase.yaml file.
	 */
	Z_TEST_SKIP_IFNDEF(ADXL34X_TEST_STREAMING);
	/* Setup all i2c and spi devices available. */
	adxl34x_suite_before(fixture);
}

/**
 * @brief Test sensor initialisation.
 *
 * @details All devices defined in the device tree are initialised at startup. Some devices should
 * succeed initialisation, some should not, and some are not used in this test suite at all. This
 * test verifies the devices which support streaming functionality are available. Because this
 * requires additional dts configuration the devices which only have the basic configuration should
 * not be available.
 *
 * @ingroup driver_sensor_subsys_tests
 * @see device_is_ready()
 */
ZTEST_USER_F(adxl34x_streaming, test_device_is_ready_for_streaming_tests)
{
	/* The devices below should be able to be used in these tests. */
	adxl34x_is_ready(fixture, ADXL34X_TEST_SPI_1);
	adxl34x_is_ready(fixture, ADXL34X_TEST_SPI_2);
	adxl34x_is_ready(fixture, ADXL34X_TEST_I2C_54);
	adxl34x_is_ready(fixture, ADXL34X_TEST_I2C_55);

	/* The devices below should NOT be able to be used in streaming tests. They don't have all
	 * the nessesary dts configuration needed for this specific build.
	 */
	adxl34x_is_not_ready(fixture, ADXL34X_TEST_SPI_0);
	adxl34x_is_not_ready(fixture, ADXL34X_TEST_I2C_53);
}

ZTEST_SUITE(adxl34x_streaming, NULL, adxl34x_suite_setup, adxl34x_streaming_suite_before, NULL,
	    NULL);
```

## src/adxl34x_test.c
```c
/*
 * Copyright (c) 2024 Chaim Zax
 *
 * SPDX-License-Identifier: Apache-2.0
 */

#include <math.h>

#include <zephyr/drivers/emul.h>
#include <zephyr/drivers/sensor.h>
#include <zephyr/logging/log.h>

#include "adxl34x_test.h"

LOG_MODULE_REGISTER(adxl34x_test, CONFIG_SENSOR_LOG_LEVEL);

#define ADXL34X_DEVICE_DEF(_dev, _path1, _path2)                                                   \
	[_dev] = {                                                                                 \
		.dev = DEVICE_DT_GET(DT_PATH(_path1, _path2)),                                     \
		.emul = EMUL_DT_GET(DT_PATH(_path1, _path2)),                                      \
	}
#define ADXL34X_DEVICE_NONE(_dev) [_dev] = {}
#define ADXL34X_DEVICE_FIXTURE(_dev, _path1, _path2)                                               \
	COND_CODE_1(DT_NODE_EXISTS(DT_PATH(_path1, _path2)),                                       \
		    (ADXL34X_DEVICE_DEF(_dev, _path1, _path2)), (ADXL34X_DEVICE_NONE(_dev)))

static const char unknown[] = "unknown";
static char bus_name[][5] = {
	"i2c",
	"espi",
	"spi",
	"none",
};

void *adxl34x_suite_setup(void)
{
	/* clang-format off */
	static struct adxl34x_fixture fixture = {
		.device = {
			ADXL34X_DEVICE_FIXTURE(ADXL34X_TEST_SPI_0,  spi_200, adxl34x_0),
			ADXL34X_DEVICE_FIXTURE(ADXL34X_TEST_SPI_1,  spi_200, adxl34x_1),
			ADXL34X_DEVICE_FIXTURE(ADXL34X_TEST_SPI_2,  spi_200, adxl34x_2),
			ADXL34X_DEVICE_FIXTURE(ADXL34X_TEST_I2C_53, i2c_100, adxl34x_53),
			ADXL34X_DEVICE_FIXTURE(ADXL34X_TEST_I2C_54, i2c_100, adxl34x_54),
			ADXL34X_DEVICE_FIXTURE(ADXL34X_TEST_I2C_55, i2c_100, adxl34x_55),
		},
	};
	/* clang-format on */
	return &fixture;
}

void adxl34x_suite_before(void *a_fixture)
{
	const struct adxl34x_fixture *fixture = (struct adxl34x_fixture *)a_fixture;

	for (unsigned int i = 0; i < ADXL34X_TEST_NR_OF_DEVICES; i++) {
		if (fixture->device[i].dev != NULL) {
			k_object_access_grant(fixture->device[i].dev, k_current_get());
		}
	}
}

const char *adxl34x_get_name(struct adxl34x_fixture *fixture, const enum ADXL34X_TEST test_device)
{
	if (fixture == NULL || fixture->device[test_device].dev == NULL) {
		return unknown;
	}
	return fixture->device[test_device].dev->name;
}

const char *adxl34x_get_bus_name(struct adxl34x_fixture *fixture,
				 const enum ADXL34X_TEST test_device)
{
	if (fixture == NULL || fixture->device[test_device].emul == NULL) {
		return unknown;
	}
	const enum emul_bus_type bus_type = fixture->device[test_device].emul->bus_type;

	if (bus_type > 3) {
		return unknown;
	}
	return bus_name[bus_type];
}

void adxl34x_is_ready(struct adxl34x_fixture *fixture, const enum ADXL34X_TEST test_device)
{
	zassert_ok(fixture->device[test_device].dev->state->init_res,
		   "Device %s/%s not initialized correctly",
		   adxl34x_get_bus_name(fixture, test_device),
		   adxl34x_get_name(fixture, test_device));
}

void adxl34x_is_not_ready(struct adxl34x_fixture *fixture, const enum ADXL34X_TEST test_device)
{
	zassert_not_ok(fixture->device[test_device].dev->state->init_res,
		       "Device %s/%s was initialized correctly unexpectedly",
		       adxl34x_get_bus_name(fixture, test_device),
		       adxl34x_get_name(fixture, test_device));
}

bool is_equal_sensor_value(const struct sensor_value value_1, const struct sensor_value value_2)
{
	return (value_1.val1 == value_2.val1 && value_1.val2 == value_2.val2);
}

bool is_equal_float(const float value_1, const float value_2, const float error)
{
	return (fabsf(value_1 - value_2) < error);
}

bool is_equal_double(const double value_1, const double value_2, const double error)
{
	return (fabs(value_1 - value_2) < error);
}
```

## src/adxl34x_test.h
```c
/*
 * Copyright (c) 2024 Chaim Zax
 * SPDX-License-Identifier: Apache-2.0
 */

#ifndef ZEPHYR_TEST_DRIVERS_SENSOR_ADXL34X_TEST_H_
#define ZEPHYR_TEST_DRIVERS_SENSOR_ADXL34X_TEST_H_

#include <stdint.h>
#include <stdbool.h>

#include <zephyr/drivers/sensor.h>
#include <zephyr/ztest.h>

#define Q31_SCALE               ((int64_t)INT32_MAX + 1)
#define FLOAT_TO_Q31(x, shift)  ((int64_t)((float)(x) * (float)Q31_SCALE) >> shift)
#define Q31_TO_FLOAT(x, shift)  ((float)((int64_t)(x) << shift) / (float)Q31_SCALE)
#define DOUBLE_TO_Q31(x, shift) ((int64_t)((double)(x) * (double)Q31_SCALE) >> shift)
#define Q31_TO_DOUBLE(x, shift) ((double)((int64_t)(x) << shift) / (double)Q31_SCALE)
#define G_TO_MS2(g)             (g * SENSOR_G / 1000000LL)
#define MS2_TO_G(ms)            (ms / SENSOR_G * 1000000LL)

enum ADXL34X_TEST {
	ADXL34X_TEST_SPI_0,
	ADXL34X_TEST_SPI_1,
	ADXL34X_TEST_SPI_2,
	ADXL34X_TEST_I2C_53,
	ADXL34X_TEST_I2C_54,
	ADXL34X_TEST_I2C_55,
	/* Keep this entry last */
	ADXL34X_TEST_NR_OF_DEVICES,
};

struct adxl34x_device {
	const struct device *dev;
	const struct emul *emul;
};

struct adxl34x_fixture {
	struct adxl34x_device device[ADXL34X_TEST_NR_OF_DEVICES];
};

bool is_equal_sensor_value(struct sensor_value value_1, struct sensor_value value_2);

void *adxl34x_suite_setup(void);
void adxl34x_suite_before(void *a_fixture);
void adxl34x_is_ready(struct adxl34x_fixture *fixture, const enum ADXL34X_TEST test_device);
void adxl34x_is_not_ready(struct adxl34x_fixture *fixture, const enum ADXL34X_TEST test_device);
const char *adxl34x_get_name(struct adxl34x_fixture *fixture, const enum ADXL34X_TEST test_device);
const char *adxl34x_get_bus_name(struct adxl34x_fixture *fixture,
				 const enum ADXL34X_TEST test_device);
bool is_equal_float(const float value_1, const float value_2, const float error);
bool is_equal_double(const double value_1, const double value_2, const double error);

#endif /* ZEPHYR_TEST_DRIVERS_SENSOR_ADXL34X_TEST_H_ */
```
